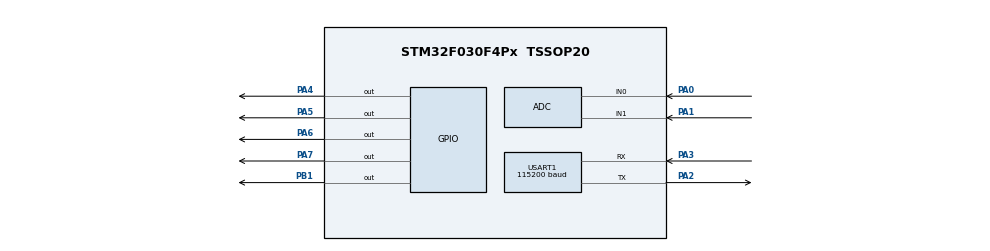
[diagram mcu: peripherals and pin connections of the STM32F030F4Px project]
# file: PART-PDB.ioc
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Mcu.Family=STM32F0
Mcu.Name=STM32F030F4Px
Mcu.Package=TSSOP20
PA0.Mode=IN0
PA0.Signal=ADC_IN0
PA1.Mode=IN1
PA1.Signal=ADC_IN1
PA13.Mode=Serial_Wire
PA13.Signal=SYS_SWDIO
PA14.Mode=Serial_Wire
PA14.Signal=SYS_SWCLK
PA2.Mode=Asynchronous
PA2.Signal=USART1_TX
PA3.Mode=Asynchronous
PA3.Signal=USART1_RX
PA4.GPIO_Speed=GPIO_SPEED_FREQ_HIGH
PA4.PinState=GPIO_PIN_RESET
PA4.Signal=GPIO_Output
PA5.GPIO_Speed=GPIO_SPEED_FREQ_HIGH
PA5.Signal=GPIO_Output
PA6.GPIO_Speed=GPIO_SPEED_FREQ_HIGH
PA6.Signal=GPIO_Output
PA7.GPIO_Speed=GPIO_SPEED_FREQ_HIGH
PA7.Signal=GPIO_Output
PB1.GPIO_Speed=GPIO_SPEED_FREQ_HIGH
PB1.Signal=GPIO_Output
ProjectManager.HeapSize=0x200
ProjectManager.StackSize=0x400
ProjectManager.TargetToolchain=STM32CubeIDE
USART1.BaudRate=115200
USART1.VirtualMode-Asynchronous=VM_ASYNC
board=custom

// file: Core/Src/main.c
/* USER CODE BEGIN Header */
/**
  ******************************************************************************
  * @file           : main.c
  * @brief          : Main program body
  ******************************************************************************
  * @attention
  *
  * Copyright (c) 2026 STMicroelectronics.
  * All rights reserved.
  *
  * This software is licensed under terms that can be found in the LICENSE file
  * in the root directory of this software component.
  * If no LICENSE file comes with this software, it is provided AS-IS.
  *
  ******************************************************************************
  */
/* USER CODE END Header */
#include "main.h"

/* USER CODE BEGIN Includes */
#include <stdio.h>
#include <string.h>
/* USER CODE END Includes */

/* USER CODE BEGIN PD */
#define UART_INTERVAL_MS   100     // send telemetry every 100ms
#define MATRIX_INTERVAL_MS 2       // refresh one matrix column every 2ms (60Hz)
#define CURRENT_MAX_A      40.0f   // full-scale current for bar graph
/* USER CODE END PD */

ADC_HandleTypeDef hadc;

UART_HandleTypeDef huart1;

/* USER CODE BEGIN PV */
static uint16_t adc_v_raw = 0;
static uint16_t adc_i_raw = 0;
static float    voltage   = 0.0f;
static float    current   = 0.0f;

static uint32_t last_uart_tick   = 0;
static uint32_t last_matrix_tick = 0;

// LED matrix frame: one byte per column (cols 0-7), n bit = n row
static uint8_t matrix_frame[8] = {0};
static uint8_t current_col     = 0;
/* USER CODE END PV */

void SystemClock_Config(void);
static void MX_GPIO_Init(void);
static void MX_ADC_Init(void);
static void MX_USART1_UART_Init(void);
/* USER CODE BEGIN PFP */
static void ADC_ReadBothChannels(void);
static void Convert_ADC_to_Physical(void);
static void UART_SendTelemetry(void);
static void Matrix_BuildBarGraph(float value, float max_value);
static void Matrix_Refresh(void);
static void Matrix_ShiftOut595(uint8_t data);
static void Matrix_ShiftOut5916(uint8_t data);
static void Matrix_Latch(void);
/* USER CODE END PFP */

/* USER CODE BEGIN 0 */

/**
  * @brief Read V_MEAS (CH0) and A_MEAS (CH1) sequentially by polling
  */
static void ADC_ReadBothChannels(void)
{
  ADC_ChannelConfTypeDef sConfig = {0};
  sConfig.Rank           = ADC_RANK_CHANNEL_NUMBER;
  sConfig.SamplingTime   = ADC_SAMPLETIME_239CYCLES_5;

  sConfig.Channel = ADC_CHANNEL_0;
  HAL_ADC_ConfigChannel(&hadc, &sConfig);
  HAL_ADC_Start(&hadc);
  HAL_ADC_PollForConversion(&hadc, 10);
  adc_v_raw = HAL_ADC_GetValue(&hadc);
  HAL_ADC_Stop(&hadc);

  sConfig.Channel = ADC_CHANNEL_1;
  HAL_ADC_ConfigChannel(&hadc, &sConfig);
  HAL_ADC_Start(&hadc);
  HAL_ADC_PollForConversion(&hadc, 10);
  adc_i_raw = HAL_ADC_GetValue(&hadc);
  HAL_ADC_Stop(&hadc);
}

/**
  * @brief Convert raw ADC counts to volts and amps
  *
  * Voltage divider 18k/2k:  V_batt = V_adc * 10
  * ACS772-400B + 22k/33k divider:
  *   V_sensor = V_adc / 0.6
  *   I = (V_sensor - 2.5) / 0.005
  */
static void Convert_ADC_to_Physical(void)
{
  const float vref    = 3.3f;
  const float adc_max = 4095.0f;

  float v_adc = (float)adc_v_raw * vref / adc_max;
  voltage = v_adc * 10.0f;

  float a_adc    = (float)adc_i_raw * vref / adc_max;
  float v_sensor = a_adc / 0.6f;
  current        = (v_sensor - 2.5f) / 0.005f;
  if (current < 0.0f) current = 0.0f;
}

/**
  * @brief Transmit "V:xx.x,I:xx.x,P:xxxx.x\r\n" over UART1 at 115200
  */
static void UART_SendTelemetry(void)
{
  extern UART_HandleTypeDef huart1;
  char buf[64];
  int  len = snprintf(buf, sizeof(buf), "V:%.1f,I:%.1f,P:%.1f\r\n",
                      voltage, current, voltage * current);
  HAL_UART_Transmit(&huart1, (uint8_t *)buf, len, 20);
}

/**
  * @brief Fill matrix_frame as a bar graph (0..64 LEDs = 0..max_value)
  *        Columns fill left to right; within each column rows fill bottom-up
  */
static void Matrix_BuildBarGraph(float value, float max_value)
{
  if (value < 0.0f)       value = 0.0f;
  if (value > max_value)  value = max_value;
  int total_on = (int)((value / max_value) * 64.0f);

  for (int col = 0; col < 8; col++)
  {
    int leds = total_on - (col * 8);
    if      (leds <= 0) matrix_frame[col] = 0x00;
    else if (leds >= 8) matrix_frame[col] = 0xFF;
    else                matrix_frame[col] = (uint8_t)(0xFF << (8 - leds));
  }
}

/**
  * @brief Drive one column per call — must be called every MATRIX_INTERVAL_MS
  *        74AHC595 selects the active column anode (one-hot via NPN)
  *        TLC5916 sinks the active row cathodes
  */
static void Matrix_Refresh(void)
{
  Matrix_ShiftOut595(1u << current_col);
  Matrix_ShiftOut5916(matrix_frame[current_col]);
  Matrix_Latch();
  current_col = (current_col + 1u) & 0x07u;
}

/* Shift 8 bits into 74AHC595: SER_DATA=PA4, SHIFT_CLK=PA6, MSB first */
static void Matrix_ShiftOut595(uint8_t data)
{
  for (int i = 7; i >= 0; i--)
  {
    HAL_GPIO_WritePin(GPIOA, GPIO_PIN_4,
        (data >> i) & 1u ? GPIO_PIN_SET : GPIO_PIN_RESET);
    HAL_GPIO_WritePin(GPIOA, GPIO_PIN_6, GPIO_PIN_SET);
    HAL_GPIO_WritePin(GPIOA, GPIO_PIN_6, GPIO_PIN_RESET);
  }
}

/* Shift 8 bits into TLC5916: SDI_DATA=PA5, SHIFT_CLK=PA6, MSB first */
static void Matrix_ShiftOut5916(uint8_t data)
{
  for (int i = 7; i >= 0; i--)
  {
    HAL_GPIO_WritePin(GPIOA, GPIO_PIN_5,
        (data >> i) & 1u ? GPIO_PIN_SET : GPIO_PIN_RESET);
    HAL_GPIO_WritePin(GPIOA, GPIO_PIN_6, GPIO_PIN_SET);
    HAL_GPIO_WritePin(GPIOA, GPIO_PIN_6, GPIO_PIN_RESET);
  }
}

/* Pulse OUTPUT_CLOCK (PA7) to latch both shift registers simultaneously */
static void Matrix_Latch(void)
{
  HAL_GPIO_WritePin(GPIOA, GPIO_PIN_7, GPIO_PIN_SET);
  HAL_GPIO_WritePin(GPIOA, GPIO_PIN_7, GPIO_PIN_RESET);
}

/* USER CODE END 0 */

int main(void)
{

  /* MCU Configuration--------------------------------------------------------*/

  /* Reset of all peripherals, Initializes the Flash interface and the Systick. */
  HAL_Init();

  /* Configure the system clock */
  SystemClock_Config();

  /* Initialize all configured peripherals */
  MX_GPIO_Init();
  MX_ADC_Init();
  MX_USART1_UART_Init();
  /* USER CODE BEGIN 2 */

  // Flash status LED to confirm boot
  HAL_GPIO_WritePin(GPIOB, GPIO_PIN_1, GPIO_PIN_SET);
  HAL_Delay(300);
  HAL_GPIO_WritePin(GPIOB, GPIO_PIN_1, GPIO_PIN_RESET);

  /* USER CODE END 2 */

  /* Infinite loop */
  /* USER CODE BEGIN WHILE */
  while (1)
  {
    uint32_t now = HAL_GetTick();

    // Telemetry: read sensors and send UART every 100ms
    if (now - last_uart_tick >= UART_INTERVAL_MS)
    {
      last_uart_tick = now;
      ADC_ReadBothChannels();
      Convert_ADC_to_Physical();
      UART_SendTelemetry();
      HAL_GPIO_TogglePin(GPIOB, GPIO_PIN_1);
      Matrix_BuildBarGraph(current, CURRENT_MAX_A);      // updates bar graph
    }

    // Matrix multiplex: advance one column every 2ms
    if (now - last_matrix_tick >= MATRIX_INTERVAL_MS)
    {
      last_matrix_tick = now;
      Matrix_Refresh();
    }

    /* USER CODE END WHILE */

  }
}

void SystemClock_Config(void)
{
  RCC_OscInitTypeDef RCC_OscInitStruct = {0};
  RCC_ClkInitTypeDef RCC_ClkInitStruct = {0};
  RCC_PeriphCLKInitTypeDef PeriphClkInit = {0};

  /** Initializes the RCC Oscillators according to the specified parameters
  * in the RCC_OscInitTypeDef structure.
  */
  RCC_OscInitStruct.OscillatorType = RCC_OSCILLATORTYPE_HSI|RCC_OSCILLATORTYPE_HSI14;
  RCC_OscInitStruct.HSIState = RCC_HSI_ON;
  RCC_OscInitStruct.HSI14State = RCC_HSI14_ON;
  RCC_OscInitStruct.HSICalibrationValue = RCC_HSICALIBRATION_DEFAULT;
  RCC_OscInitStruct.HSI14CalibrationValue = 16;
  RCC_OscInitStruct.PLL.PLLState = RCC_PLL_NONE;
  if (HAL_RCC_OscConfig(&RCC_OscInitStruct) != HAL_OK)
  {
    Error_Handler();
  }

  /** Initializes the CPU, AHB and APB buses clocks
  */
  RCC_ClkInitStruct.ClockType = RCC_CLOCKTYPE_HCLK|RCC_CLOCKTYPE_SYSCLK
                              |RCC_CLOCKTYPE_PCLK1;
  RCC_ClkInitStruct.SYSCLKSource = RCC_SYSCLKSOURCE_HSI;
  RCC_ClkInitStruct.AHBCLKDivider = RCC_SYSCLK_DIV1;
  RCC_ClkInitStruct.APB1CLKDivider = RCC_HCLK_DIV1;

  if (HAL_RCC_ClockConfig(&RCC_ClkInitStruct, FLASH_LATENCY_0) != HAL_OK)
  {
    Error_Handler();
  }
  PeriphClkInit.PeriphClockSelection = RCC_PERIPHCLK_USART1;
  PeriphClkInit.Usart1ClockSelection = RCC_USART1CLKSOURCE_PCLK1;
  if (HAL_RCCEx_PeriphCLKConfig(&PeriphClkInit) != HAL_OK)
  {
    Error_Handler();
  }
}

static void MX_ADC_Init(void)
{

  ADC_ChannelConfTypeDef sConfig = {0};

  /** Configure the global features of the ADC (Clock, Resolution, Data Alignment and number of conversion)
  */
  hadc.Instance = ADC1;
  hadc.Init.ClockPrescaler = ADC_CLOCK_ASYNC_DIV1;
  hadc.Init.Resolution = ADC_RESOLUTION_12B;
  hadc.Init.DataAlign = ADC_DATAALIGN_RIGHT;
  hadc.Init.ScanConvMode = ADC_SCAN_DIRECTION_FORWARD;
  hadc.Init.EOCSelection = ADC_EOC_SINGLE_CONV;
  hadc.Init.LowPowerAutoWait = DISABLE;
  hadc.Init.LowPowerAutoPowerOff = DISABLE;
  hadc.Init.ContinuousConvMode = DISABLE;
  hadc.Init.DiscontinuousConvMode = DISABLE;
  hadc.Init.ExternalTrigConv = ADC_SOFTWARE_START;
  hadc.Init.ExternalTrigConvEdge = ADC_EXTERNALTRIGCONVEDGE_NONE;
  hadc.Init.DMAContinuousRequests = DISABLE;
  hadc.Init.Overrun = ADC_OVR_DATA_PRESERVED;
  if (HAL_ADC_Init(&hadc) != HAL_OK)
  {
    Error_Handler();
  }

  /** Configure for the selected ADC regular channel to be converted.
  */
  sConfig.Channel = ADC_CHANNEL_0;
  sConfig.Rank = ADC_RANK_CHANNEL_NUMBER;
  sConfig.SamplingTime = ADC_SAMPLETIME_1CYCLE_5;
  if (HAL_ADC_ConfigChannel(&hadc, &sConfig) != HAL_OK)
  {
    Error_Handler();
  }

  /** Configure for the selected ADC regular channel to be converted.
  */
  sConfig.Channel = ADC_CHANNEL_1;
  if (HAL_ADC_ConfigChannel(&hadc, &sConfig) != HAL_OK)
  {
    Error_Handler();
  }

}

static void MX_USART1_UART_Init(void)
{

  huart1.Instance = USART1;
  huart1.Init.BaudRate = 115200;
  huart1.Init.WordLength = UART_WORDLENGTH_8B;
  huart1.Init.StopBits = UART_STOPBITS_1;
  huart1.Init.Parity = UART_PARITY_NONE;
  huart1.Init.Mode = UART_MODE_TX_RX;
  huart1.Init.HwFlowCtl = UART_HWCONTROL_NONE;
  huart1.Init.OverSampling = UART_OVERSAMPLING_16;
  huart1.Init.OneBitSampling = UART_ONE_BIT_SAMPLE_DISABLE;
  huart1.AdvancedInit.AdvFeatureInit = UART_ADVFEATURE_NO_INIT;
  if (HAL_UART_Init(&huart1) != HAL_OK)
  {
    Error_Handler();
  }

}

static void MX_GPIO_Init(void)
{
  GPIO_InitTypeDef GPIO_InitStruct = {0};

  /* GPIO Ports Clock Enable */
  __HAL_RCC_GPIOA_CLK_ENABLE();
  __HAL_RCC_GPIOB_CLK_ENABLE();

  /*Configure GPIO pin Output Level */
  HAL_GPIO_WritePin(GPIOA, GPIO_PIN_4|GPIO_PIN_5|GPIO_PIN_6|GPIO_PIN_7, GPIO_PIN_RESET);

  /*Configure GPIO pin Output Level */
  HAL_GPIO_WritePin(GPIOB, GPIO_PIN_1, GPIO_PIN_RESET);

  /*Configure GPIO pins : PA4 PA5 PA6 PA7 */
  GPIO_InitStruct.Pin = GPIO_PIN_4|GPIO_PIN_5|GPIO_PIN_6|GPIO_PIN_7;
  GPIO_InitStruct.Mode = GPIO_MODE_OUTPUT_PP;
  GPIO_InitStruct.Pull = GPIO_NOPULL;
  GPIO_InitStruct.Speed = GPIO_SPEED_FREQ_HIGH;
  HAL_GPIO_Init(GPIOA, &GPIO_InitStruct);

  /*Configure GPIO pin : PB1 */
  GPIO_InitStruct.Pin = GPIO_PIN_1;
  GPIO_InitStruct.Mode = GPIO_MODE_OUTPUT_PP;
  GPIO_InitStruct.Pull = GPIO_NOPULL;
  GPIO_InitStruct.Speed = GPIO_SPEED_FREQ_HIGH;
  HAL_GPIO_Init(GPIOB, &GPIO_InitStruct);

}

void Error_Handler(void)
{
  __disable_irq();
  while (1)
  {
  }
}
